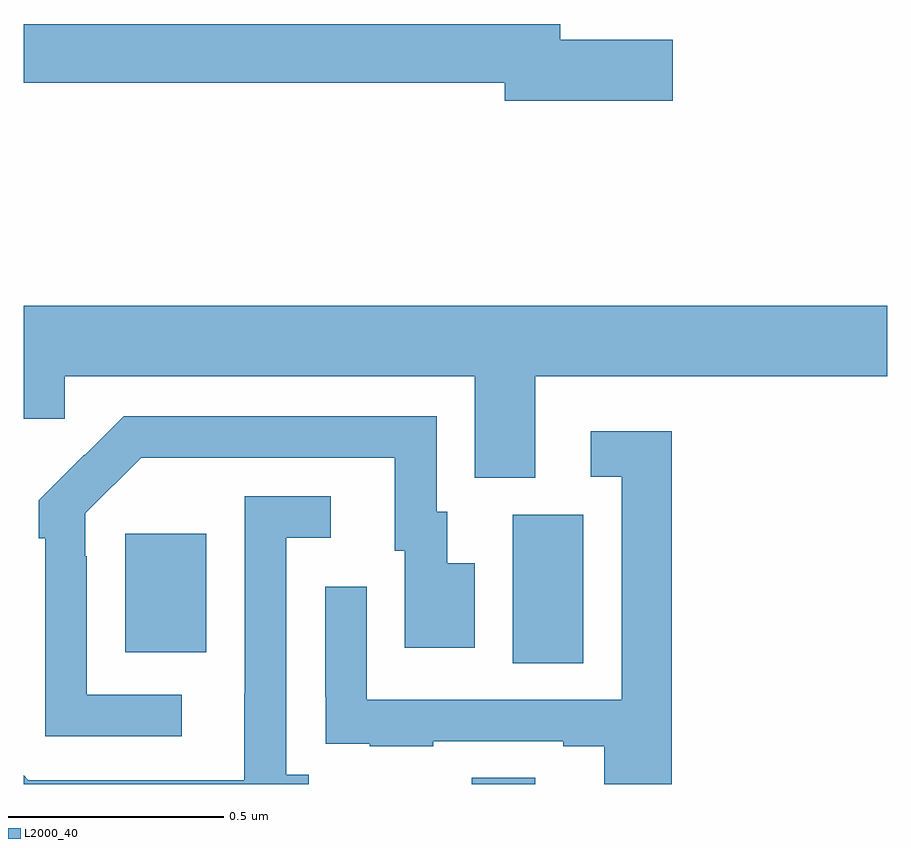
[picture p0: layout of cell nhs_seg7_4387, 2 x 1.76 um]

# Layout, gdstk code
import gdstk
lib = gdstk.Library(unit=1e-6, precision=1e-09)
def R(c, l, rs):  # rectangles x0, y0, x1, y1
    for r in rs: c.add(gdstk.rectangle(r[:2], r[2:], *l))
def P(c, l, *ps):  # polygons
    for p in ps: c.add(gdstk.Polygon(p, *l))
L2000_40 = (2000, 40)

nhs_seg7_4387 = lib.new_cell('nhs_seg7_4387')
R(nhs_seg7_4387, L2000_40, [(173.038,1005,173.185,1005.014), (173.132,1005.28,173.296,1005.624), (172.235,1005.305,172.423,1005.58)])
P(nhs_seg7_4387, L2000_40, [(173.503,1006.724),(173.242,1006.724),(173.242,1006.76),(172,1006.76),(172,1006.624),(173.114,1006.624),(173.114,1006.582),(173.503,1006.582)],
  [(173.185,1005.944),(174,1005.944),(174,1006.108),(172,1006.108),(172,1005.846),(172.095,1005.846),(172.095,1005.944),(173.045,1005.944),(173.045,1005.709),(173.185,1005.709)],
  [(172.366,1005.207),(172.146,1005.207),(172.146,1005.527),(172.143,1005.527),(172.143,1005.627),(172.272,1005.756),(172.859,1005.756),(172.859,1005.54),(172.883,1005.54),(172.883,1005.315),(173.044,1005.315),(173.044,1005.511),(172.981,1005.511),(172.981,1005.63),(172.956,1005.63),(172.956,1005.852),(172.232,1005.852),(172.141,1005.761),(172.14,1005.762),(172.035,1005.657),(172.035,1005.569),(172.05,1005.569),(172.05,1005.111),(172.366,1005.111)],
  [(173.501,1005.817),(173.313,1005.817),(173.313,1005.711),(173.385,1005.711),(173.385,1005.195),(172.794,1005.195),(172.794,1005.457),(172.698,1005.457),(172.698,1005.202),(172.699,1005.202),(172.699,1005.093),(172.801,1005.093),(172.801,1005.087),(172.949,1005.087),(172.949,1005.099),(173.249,1005.099),(173.249,1005.087),(173.345,1005.087),(173.345,1005),(173.501,1005)],
  [(172.66,1005.022),(172.608,1005.022),(172.608,1005.57),(172.711,1005.57),(172.711,1005.666),(172.512,1005.666),(172.512,1005.209),(172.511,1005.209),(172.511,1005.009),(172.011,1005.009),(172,1005.02),(172,1005),(172.66,1005)])

lib.write_gds('nhs_seg7_4387.gds')
